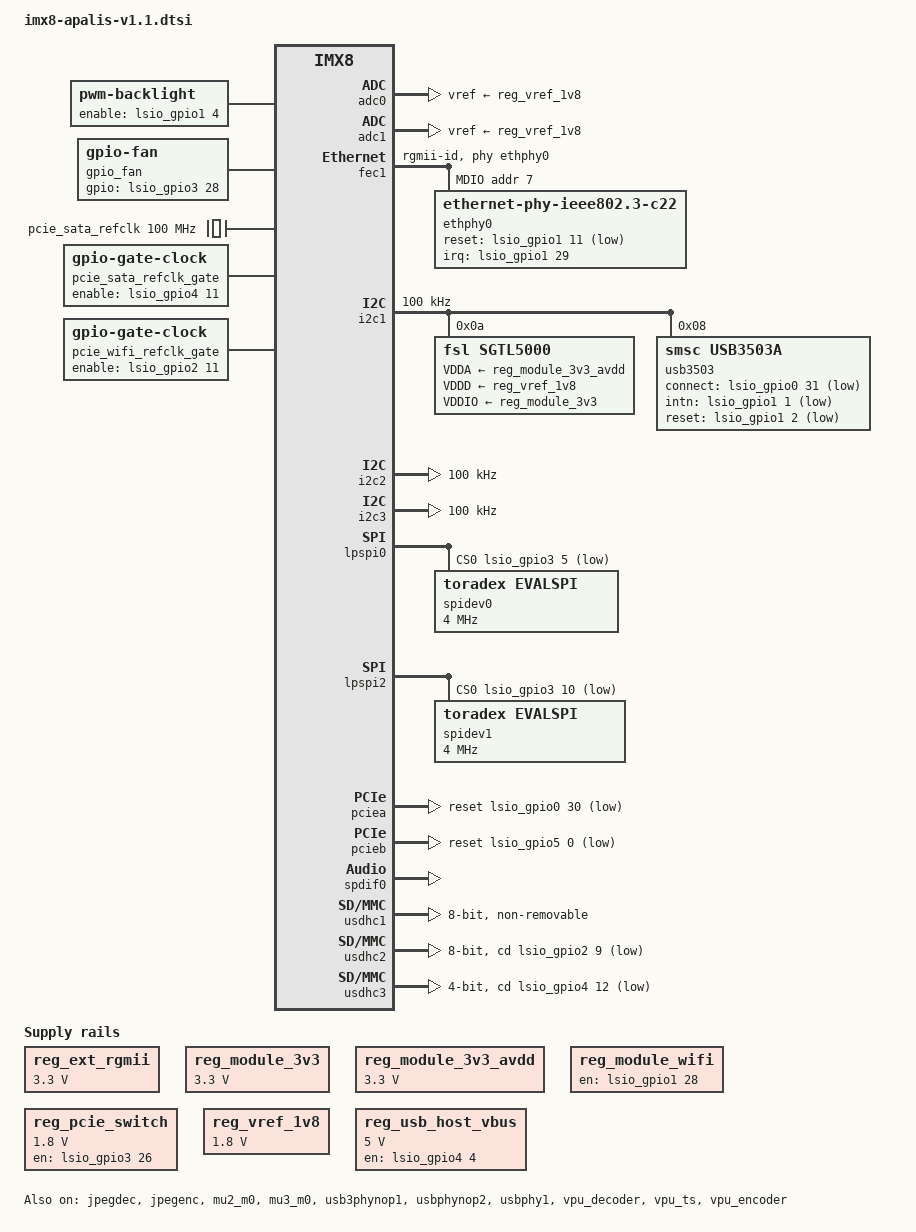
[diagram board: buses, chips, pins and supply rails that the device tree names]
// SPDX-License-Identifier: GPL-2.0+ OR X11
/*
 * Copyright 2017-2020 Toradex
 */

#include <dt-bindings/pwm/pwm.h>

/ {
	chosen {
		stdout-path = &lpuart1;
	};

	/* Apalis BKL1 */
	backlight: backlight {
		compatible = "pwm-backlight";
		pinctrl-names = "default";
		pinctrl-0 = <&pinctrl_gpio_bkl_on>;
		enable-gpios = <&lsio_gpio1 4 GPIO_ACTIVE_HIGH>; /* Apalis BKL1_ON */
	};

	gpio_fan: gpio-fan {
		compatible = "gpio-fan";
		pinctrl-names = "default";
		pinctrl-0 = <&pinctrl_gpio8>;
		gpios = <&lsio_gpio3 28 GPIO_ACTIVE_HIGH>;
		gpio-fan,speed-map = <	 0 0
				      3000 1>;
	};

	panel_lvds: panel-lvds {
		compatible = "panel-lvds";
		backlight = <&backlight>;

		status = "disabled";

		port {
			panel_lvds_in: endpoint {
				remote-endpoint = <&lvds1_out>;
			};
		};
	};

	pcie_sata_refclk: sata-clock-generator {
		compatible = "fixed-clock";
		#clock-cells = <0>;
		clock-frequency = <100000000>;
	};

	pcie_sata_refclk_gate: sata-ref-clock {
		compatible = "gpio-gate-clock";
		pinctrl-names = "default";
		pinctrl-0 = <&pinctrl_pcie_sata_refclk>;
		#clock-cells = <0>;
		clocks = <&pcie_sata_refclk>;
		enable-gpios = <&lsio_gpio4 11 GPIO_ACTIVE_HIGH>;
	};

	pcie_wifi_refclk_gate: wifi-ref-clock {
		compatible = "gpio-gate-clock";
		pinctrl-names = "default";
		pinctrl-0 = <&pinctrl_pcie_wifi_refclk>;
		#clock-cells = <0>;
		clocks = <&pcie_sata_refclk_gate>;
		enable-gpios = <&lsio_gpio2 11 GPIO_ACTIVE_HIGH>;
	};

	regulators {
		compatible = "simple-bus";
		#address-cells = <1>;
		#size-cells = <0>;

		/*
		 * Power management bus used to control LDO1OUT of the
		 * second PMIC PF8100. This is used for controlling voltage levels of
		 * typespecific RGMII signals and Apalis UART2_RTS UART2_CTS.
		 *
		 * IMX_SC_R_BOARD_R1 for 3.3V
		 * IMX_SC_R_BOARD_R2 for 1.8V
		 * IMX_SC_R_BOARD_R3 for 2.5V
		 * Note that for 2.5V operation the pad muxing needs to be changed,
		 * compare with PSW_OVR field of IMX8QM_COMP_CTL_GPIO_1V8_3V3_ENET_ENETA_PAD.
		 *
		 * those power domains are mutually exclusive.
		 */
		reg_ext_rgmii: regulator-ext-rgmii {
			compatible = "regulator-fixed";
			regulator-name = "VDD_EXT_RGMII (LDO1)";
			regulator-min-microvolt = <3300000>;
			regulator-max-microvolt = <3300000>;
			power-domains = <&pd IMX_SC_R_BOARD_R1>;

			regulator-state-mem {
				regulator-off-in-suspend;
			};
		};

		reg_module_3v3: regulator-module-3v3 {
			compatible = "regulator-fixed";
			regulator-name = "+V3.3";
			regulator-min-microvolt = <3300000>;
			regulator-max-microvolt = <3300000>;
		};

		reg_module_3v3_avdd: regulator-module-3v3-avdd {
			compatible = "regulator-fixed";
			regulator-name = "+V3.3_AUDIO";
			regulator-min-microvolt = <3300000>;
			regulator-max-microvolt = <3300000>;
		};

		reg_module_wifi: regulator-module-wifi {
			compatible = "regulator-fixed";
			enable-active-high;
			gpio = <&lsio_gpio1 28 GPIO_ACTIVE_HIGH>;
			pinctrl-names = "default";
			pinctrl-0 = <&pinctrl_wifi_pdn>;
			regulator-name = "wifi_pwrdn_fake_regulator";
			regulator-settling-time-us = <100>;

			regulator-state-mem {
				regulator-off-in-suspend;
			};
		};

		reg_pcie_switch: regulator-pcie-switch {
			compatible = "regulator-fixed";
			pinctrl-names = "default";
			pinctrl-0 = <&pinctrl_gpio7>;
			enable-active-high;
			gpio = <&lsio_gpio3 26 GPIO_ACTIVE_HIGH>;
			regulator-name = "pcie_switch";
			regulator-min-microvolt = <1800000>;
			regulator-max-microvolt = <1800000>;
			startup-delay-us = <100000>;
		};

		reg_vref_1v8: regulator-vref-1v8 {
			compatible = "regulator-fixed";
			regulator-name = "+V1.8";
			regulator-min-microvolt = <1800000>;
			regulator-max-microvolt = <1800000>;
		};
	};

	reg_usb_host_vbus: regulator-usb-host-vbus {
			compatible = "regulator-fixed";
			pinctrl-names = "default";
			pinctrl-0 = <&pinctrl_usbh_en>;
			regulator-min-microvolt = <5000000>;
			regulator-max-microvolt = <5000000>;
			enable-active-high;

			/* Apalis USBH_EN */
			gpio = <&lsio_gpio4 4 GPIO_ACTIVE_HIGH>;
			regulator-always-on;
	};

	reserved-memory {
		#address-cells = <2>;
		#size-cells = <2>;
		ranges;

		decoder_boot: decoder_boot@0x84000000 {
			no-map;
			reg = <0 0x84000000 0 0x2000000>;
		};
		encoder_boot: encoder_boot@0x86000000 {
			no-map;
			reg = <0 0x86000000 0 0x400000>;
		};
		/*
		 * reserved-memory layout
		 * 0x8800_0000 ~ 0x8FFF_FFFF is reserved for M4
		 * Shouldn't be used at A core and Linux side.
		 *
		 */
		m4_reserved: m4@0x88000000 {
			no-map;
			reg = <0 0x88000000 0 0x8000000>;
		};
		rpmsg_reserved: rpmsg@0x90000000 {
			no-map;
			reg = <0 0x90200000 0 0x200000>;
		};
		decoder_rpc: decoder_rpc@0x92000000 {
			no-map;
			reg = <0 0x92000000 0 0x200000>;
		};
		encoder_rpc: encoder_rpc@0x92200000 {
			no-map;
			reg = <0 0x92200000 0 0x200000>;
		};
		dsp_reserved: dsp@0x92400000 {
			no-map;
			reg = <0 0x92400000 0 0x2000000>;
		};
		encoder_reserved: encoder_reserved@0x94400000 {
			no-map;
			reg = <0 0x94400000 0 0x800000>;
		};
		ts_boot: ts_boot@0x95000000 {
			no-map;
			reg = <0 0x95000000 0 0x400000>;
		};

		vdevbuffer: vdevbuffer {
			compatible = "shared-dma-pool";
			reg = <0 0x90400000 0 0x100000>;
			no-map;
		};
	};

	sound {
		compatible = "simple-audio-card";
		simple-audio-card,bitclock-master = <&dailink_master>;
		simple-audio-card,format = "i2s";
		simple-audio-card,frame-master = <&dailink_master>;
		/* simple-audio-card,mclk-fs = <1>; */
		simple-audio-card,name = "apalis-imx8qm-sgtl5000";

		simple-audio-card,cpu {
			sound-dai = <&sai1>;
		};

		dailink_master: simple-audio-card,codec {
			clocks = <&mclkout0_lpcg 0>;
			sound-dai = <&sgtl5000>;
		};
	};

	sound_hdmi: sound-hdmi {
		compatible = "fsl,imx-audio-cdnhdmi";
		model = "imx-audio-hdmi-tx";
		audio-cpu = <&sai5>;
		protocol = <1>;
		hdmi-out;
		status = "disabled";
	};

	sound-spdif {
		compatible = "fsl,imx-audio-spdif";
		model = "imx-spdif";
		spdif-controller = <&spdif0>;
		spdif-in;
		spdif-out;
	};

	touchscreen: vf50-touchscreen {
		compatible = "toradex,vf50-touchscreen";
		io-channels = <&adc1 2>,<&adc1 1>,
			      <&adc1 0>,<&adc1 3>;
		xp-gpios = <&lsio_gpio2 4 GPIO_ACTIVE_LOW>;
		xm-gpios = <&lsio_gpio2 5 GPIO_ACTIVE_HIGH>;
		yp-gpios = <&lsio_gpio2 17 GPIO_ACTIVE_LOW>;
		ym-gpios = <&lsio_gpio2 21 GPIO_ACTIVE_HIGH>;
		interrupt-parent = <&lsio_gpio3>;
		interrupts = <22 IRQ_TYPE_LEVEL_LOW>;
		pinctrl-names = "idle","default";
		pinctrl-0 = <&pinctrl_touchctrl_idle>, <&pinctrl_touchctrl_gpios>;
		pinctrl-1 = <&pinctrl_adc1>, <&pinctrl_touchctrl_gpios>;
		vf50-ts-min-pressure = <200>;
		/* NOTE: you must remove the pinctrl-adc1 from the adc1
			node below to use the touchscreen */
		status = "disabled";
	};

};

&adc0 {
	pinctrl-names = "default";
	pinctrl-0 = <&pinctrl_adc0>;
	vref-supply = <&reg_vref_1v8>;
};

&adc1 {
	pinctrl-names = "default";
	pinctrl-0 = <&pinctrl_adc1>;
	vref-supply = <&reg_vref_1v8>;
};

&asrc0 {
	fsl,asrc-rate  = <48000>;
};

/* Apalis GLAN */
&fec1 {
	pinctrl-names = "default", "sleep";
	pinctrl-0 = <&pinctrl_fec1>;
	pinctrl-1 = <&pinctrl_fec1_sleep>;
	fsl,magic-packet;
	fsl,mii-exclusive;

	phy-handle = <&ethphy0>;
	phy-mode = "rgmii-id";

	mdio {
		#address-cells = <1>;
		#size-cells = <0>;

		ethphy0: ethernet-phy@7 {
			compatible = "ethernet-phy-ieee802.3-c22";
			interrupt-parent = <&lsio_gpio1>;
			interrupts = <29 IRQ_TYPE_LEVEL_LOW>;
			micrel,led-mode = <0>;
			reg = <7>;
			reset-assert-us = <2>;
			reset-deassert-us = <2>;
			reset-gpios = <&lsio_gpio1 11 GPIO_ACTIVE_LOW>;
			reset-names = "phy-reset";
		};
	};
};

/* Apalis CAN1 */
&flexcan1 {
	/* define the following property to disable CAN-FD mode */
	/* disable-fd-mode; */
	pinctrl-names = "default";
	pinctrl-0 = <&pinctrl_flexcan1>;
	/* xceiver-supply = <&reg_can_stby>; */
};

/* Apalis CAN2 */
&flexcan2 {
	/* define the following property to disable CAN-FD mode */
	/* disable-fd-mode; */
	pinctrl-names = "default";
	pinctrl-0 = <&pinctrl_flexcan2>;
	/* xceiver-supply = <&reg_can_stby>; */
};

/* Apalis CAN3 (optional) */
&flexcan3 {
	/* define the following property to disable CAN-FD mode */
	/* disable-fd-mode; */
	pinctrl-names = "default";
	pinctrl-0 = <&pinctrl_flexcan3>;
	/* xceiver-supply = <&reg_can_stby>; */
};


/* Apalis HDMI1 */
&hdmi {
	compatible = "cdn,imx8qm-hdmi";
	pinctrl-names = "default";
	pinctrl-0 = <&pinctrl_hdmi_ctrl>;
	firmware-name = "imx/hdmi/hdmitxfw.bin";
	hdmi-ctrl-gpios = <&lsio_gpio1 30 GPIO_ACTIVE_HIGH>;
	lane-mapping = <0x93>;
};

&hsio_refa_clk {
	status = "disabled";
};

&hsio_refb_clk {
	status = "disabled";
};

/* On-module I2C */
&i2c1 {
	pinctrl-names = "default";
	pinctrl-0 = <&pinctrl_lpi2c1>;
	#address-cells = <1>;
	#size-cells = <0>;
	clock-frequency = <100000>;
	status = "okay";

	sgtl5000: codec@a {
		compatible = "fsl,sgtl5000";
		pinctrl-names = "default";
		pinctrl-0 = <&pinctrl_sgtl5000>;
		#sound-dai-cells = <0>;
		assigned-clocks = <&clk IMX_SC_R_AUDIO_PLL_0 IMX_SC_PM_CLK_PLL>,
				<&clk IMX_SC_R_AUDIO_PLL_0 IMX_SC_PM_CLK_SLV_BUS>,
				<&clk IMX_SC_R_AUDIO_PLL_0 IMX_SC_PM_CLK_MST_BUS>,
				<&mclkout0_lpcg 0>;
		assigned-clock-rates = <786432000>, <49152000>, <12288000>, <12288000>;
		clocks = <&mclkout0_lpcg 0>;
		clock-names = "mclk";
		reg = <0x0a>;
		VDDA-supply = <&reg_module_3v3_avdd>;
		VDDD-supply = <&reg_vref_1v8>;
		VDDIO-supply = <&reg_module_3v3>;
	};

	/* USB3503A */
	usb3503@8 {
		compatible = "smsc,usb3503a";
		pinctrl-names = "default";
		pinctrl-0 = <&pinctrl_usb3503a>;
		connect-gpios = <&lsio_gpio0 31 GPIO_ACTIVE_LOW>;
		initial-mode = <1>;
		intn-gpios = <&lsio_gpio1 1 GPIO_ACTIVE_LOW>;
		refclk-frequency = <25000000>;
		reg = <0x08>;
		reset-gpios = <&lsio_gpio1 2 GPIO_ACTIVE_LOW>;
	};
};

/* Apalis I2C1 */
&i2c2 {
	pinctrl-names = "default";
	pinctrl-0 = <&pinctrl_lpi2c2>;
	#address-cells = <1>;
	#size-cells = <0>;
	clock-frequency = <100000>;
};

/* Apalis I2C3 (CAM) */
&i2c3 {
	pinctrl-names = "default";
	pinctrl-0 = <&pinctrl_lpi2c3>;
	#address-cells = <1>;
	#size-cells = <0>;
	clock-frequency = <100000>;
};

&iomuxc {
	pinctrl-names = "default";
	pinctrl-0 = <&pinctrl_cam1_gpios>, <&pinctrl_dap1_gpios>,
		    <&pinctrl_esai0_gpios>, <&pinctrl_fec2_gpios>,
		    <&pinctrl_gpio3>, <&pinctrl_gpio4>, <&pinctrl_gpio_keys>,
		    <&pinctrl_gpio_usbh_oc_n>, <&pinctrl_lpuart1ctrl>,
		    <&pinctrl_lvds0_i2c0_gpio>, <&pinctrl_lvds1_i2c0_gpios>,
		    <&pinctrl_mipi_dsi_0_1_en>, <&pinctrl_mipi_dsi1_gpios>,
		    <&pinctrl_mlb_gpios>, <&pinctrl_qspi1a_gpios>,
		    <&pinctrl_sata1_act>, <&pinctrl_sim0_gpios>,
		    <&pinctrl_usdhc1_gpios>;

	apalis-imx8qm {
		/* Apalis AN1_ADC */
		pinctrl_adc0: adc0grp {
			fsl,pins = <
				/* Apalis AN1_ADC0 */
				IMX8QM_ADC_IN0_DMA_ADC0_IN0			0xc0000060
				/* Apalis AN1_ADC1 */
				IMX8QM_ADC_IN1_DMA_ADC0_IN1			0xc0000060
				/* Apalis AN1_ADC2 */
				IMX8QM_ADC_IN2_DMA_ADC0_IN2			0xc0000060
				/* Apalis AN1_TSWIP_ADC3 */
				IMX8QM_ADC_IN3_DMA_ADC0_IN3			0xc0000060
			>;
		};

		/* Apalis AN1_TS */
		pinctrl_adc1: adc1grp {
			fsl,pins = <
				/* Apalis AN1_TSPX */
				IMX8QM_ADC_IN4_DMA_ADC1_IN0			0xc0000060
				/* Apalis AN1_TSMX */
				IMX8QM_ADC_IN5_DMA_ADC1_IN1			0xc0000060
				/* Apalis AN1_TSPY */
				IMX8QM_ADC_IN6_DMA_ADC1_IN2			0xc0000060
				/* Apalis AN1_TSMY */
				IMX8QM_ADC_IN7_DMA_ADC1_IN3			0xc0000060
			>;
		};

		/* Apalis BKL_ON */
		pinctrl_gpio_bkl_on: gpio-bkl-on {
			fsl,pins = <
				IMX8QM_LVDS0_GPIO00_LSIO_GPIO1_IO04		0x00000021
			>;
		};

		/* Apalis BKL1_PWM */
		pinctrl_pwm_bkl: pwmbklgrp {
			fsl,pins = <
				IMX8QM_LVDS1_GPIO00_LVDS1_PWM0_OUT		0x00000020
			>;
		};

		/* Apalis CAM1 */
		pinctrl_cam1_gpios: cam1gpiosgrp {
			fsl,pins = <
				/* Apalis CAM1_D7 */
				IMX8QM_MIPI_DSI1_I2C0_SCL_LSIO_GPIO1_IO20	0x00000021
				/* Apalis CAM1_D6 */
				IMX8QM_MIPI_DSI1_I2C0_SDA_LSIO_GPIO1_IO21	0x00000021
				/* Apalis CAM1_D5 */
				IMX8QM_ESAI0_TX0_LSIO_GPIO2_IO26		0x00000021
				/* Apalis CAM1_D4 */
				IMX8QM_ESAI0_TX1_LSIO_GPIO2_IO27		0x00000021
				/* Apalis CAM1_D3 */
				IMX8QM_ESAI0_TX2_RX3_LSIO_GPIO2_IO28		0x00000021
				/* Apalis CAM1_D2 */
				IMX8QM_ESAI0_TX3_RX2_LSIO_GPIO2_IO29		0x00000021
				/* Apalis CAM1_D1 */
				IMX8QM_ESAI0_TX4_RX1_LSIO_GPIO2_IO30		0x00000021
				/* Apalis CAM1_D0 */
				IMX8QM_ESAI0_TX5_RX0_LSIO_GPIO2_IO31		0x00000021
				/* Apalis CAM1_PCLK */
				IMX8QM_MCLK_IN0_LSIO_GPIO3_IO00			0x00000021
				/* Apalis CAM1_MCLK */
				IMX8QM_SPI3_SDO_LSIO_GPIO2_IO18			0x00000021
				/* Apalis CAM1_VSYNC */
				IMX8QM_ESAI0_SCKR_LSIO_GPIO2_IO24		0x00000021
				/* Apalis CAM1_HSYNC */
				IMX8QM_ESAI0_SCKT_LSIO_GPIO2_IO25		0x00000021
			>;
		};

		/* Apalis CAN1 */
		pinctrl_flexcan1: flexcan0grp {
			fsl,pins = <
				IMX8QM_FLEXCAN0_TX_DMA_FLEXCAN0_TX		0x21
				IMX8QM_FLEXCAN0_RX_DMA_FLEXCAN0_RX		0x21
			>;
		};

		/* Apalis CAN2 */
		pinctrl_flexcan2: flexcan1grp {
			fsl,pins = <
				IMX8QM_FLEXCAN1_TX_DMA_FLEXCAN1_TX		0x21
				IMX8QM_FLEXCAN1_RX_DMA_FLEXCAN1_RX		0x21
			>;
		};

		/* Apalis CAN3 (optional) */
		pinctrl_flexcan3: flexcan2grp {
			fsl,pins = <
				IMX8QM_FLEXCAN2_TX_DMA_FLEXCAN2_TX		0x21
				IMX8QM_FLEXCAN2_RX_DMA_FLEXCAN2_RX		0x21
			>;
		};

		/* Apalis DAP1 */
		pinctrl_dap1_gpios: dap1gpiosgrp {
			fsl,pins = <
				/* Apalis DAP1_MCLK */
				IMX8QM_SPI3_SDI_LSIO_GPIO2_IO19			0x00000021
				/* Apalis DAP1_D_OUT */
				IMX8QM_SAI1_RXC_LSIO_GPIO3_IO12			0x00000021
				/* Apalis DAP1_RESET */
				IMX8QM_ESAI1_SCKT_LSIO_GPIO2_IO07		0x00000021
				/* Apalis DAP1_BIT_CLK */
				IMX8QM_SPI0_CS1_LSIO_GPIO3_IO06			0x00000021
				/* Apalis DAP1_D_IN */
				IMX8QM_SAI1_RXFS_LSIO_GPIO3_IO14		0x00000021
				/* Apalis DAP1_SYNC */
				IMX8QM_SPI2_CS1_LSIO_GPIO3_IO11			0x00000021
				/* On-module Wi-Fi_I2S_EN# */
				IMX8QM_ESAI1_TX5_RX0_LSIO_GPIO2_IO13		0x00000021
			>;
		};

		/* Apalis GPIO1 */
		pinctrl_gpio1: gpio1grp {
			fsl,pins = <
				IMX8QM_M40_GPIO0_00_LSIO_GPIO0_IO08		0x06000021
			>;
		};

		/* Apalis GPIO2 */
		pinctrl_gpio2: gpio2grp {
			fsl,pins = <
				IMX8QM_M40_GPIO0_01_LSIO_GPIO0_IO09		0x06000021
			>;
		};

		/* Apalis GPIO3 */
		pinctrl_gpio3: gpio3grp {
			fsl,pins = <
				IMX8QM_M41_GPIO0_00_LSIO_GPIO0_IO12		0x06000021
			>;
		};

		/* Apalis GPIO4 */
		pinctrl_gpio4: gpio4grp {
			fsl,pins = <
				IMX8QM_M41_GPIO0_01_LSIO_GPIO0_IO13		0x06000021
			>;
		};

		/* Apalis GPIO5 */
		pinctrl_gpio5: gpio5grp {
			fsl,pins = <
				IMX8QM_FLEXCAN2_RX_LSIO_GPIO4_IO01		0x06000021
			>;
		};

		/* Apalis GPIO6 */
		pinctrl_gpio6: gpio6grp {
			fsl,pins = <
				IMX8QM_FLEXCAN2_TX_LSIO_GPIO4_IO02		0x00000021
			>;
		};

		/* Apalis GPIO7 */
		pinctrl_gpio7: gpio7grp {
			fsl,pins = <
				IMX8QM_MLB_SIG_LSIO_GPIO3_IO26			0x00000021
			>;
		};

		/* Apalis GPIO8 */
		pinctrl_gpio8: gpio8grp {
			fsl,pins = <
				IMX8QM_MLB_DATA_LSIO_GPIO3_IO28			0x00000021
			>;
		};

		/* Apalis I2C1 */
		pinctrl_lpi2c2: lpi2c2grp {
			fsl,pins = <
				IMX8QM_GPT1_CLK_DMA_I2C2_SCL			0x04000020
				IMX8QM_GPT1_CAPTURE_DMA_I2C2_SDA		0x04000020
			>;
		};

		/* Apalis I2C3 (CAM) */
		pinctrl_lpi2c3: lpi2c3grp {
			fsl,pins = <
				IMX8QM_SIM0_PD_DMA_I2C3_SCL			0x04000020
				IMX8QM_SIM0_POWER_EN_DMA_I2C3_SDA		0x04000020
			>;
		};

		/* Apalis LCD1_G1+2 */
		pinctrl_esai0_gpios: esai0gpiosgrp {
			fsl,pins = <
				/* Apalis LCD1_G1 */
				IMX8QM_ESAI0_FSR_LSIO_GPIO2_IO22		0x00000021
				/* Apalis LCD1_G2 */
				IMX8QM_ESAI0_FST_LSIO_GPIO2_IO23		0x00000021
			>;
		};

		/* Apalis LCD1_G6+7 */
		pinctrl_lvds1_i2c0_gpios: lvds1i2c0gpiosgrp {
			fsl,pins = <
				/* Apalis LCD1_G6 */
				IMX8QM_LVDS1_I2C0_SCL_LSIO_GPIO1_IO12		0x00000021
				/* Apalis LCD1_G7 */
				IMX8QM_LVDS1_I2C0_SDA_LSIO_GPIO1_IO13		0x00000021
			>;
		};

		/* Apalis LCD1_ */
		pinctrl_fec2_gpios: fec2gpiosgrp {
			fsl,pins = <
				IMX8QM_COMP_CTL_GPIO_1V8_3V3_ENET_ENETA_PAD	0x000014a0
				/* Apalis LCD1_R1 */
				IMX8QM_ENET1_MDC_LSIO_GPIO4_IO18		0x00000021
				/* Apalis LCD1_R0 */
				IMX8QM_ENET1_MDIO_LSIO_GPIO4_IO17		0x00000021
				/* Apalis LCD1_G0 */
				IMX8QM_ENET1_REFCLK_125M_25M_LSIO_GPIO4_IO16	0x00000021
				/* Apalis LCD1_R7 */
				IMX8QM_ENET1_RGMII_RX_CTL_LSIO_GPIO6_IO17	0x00000021
				/* Apalis LCD1_DE */
				IMX8QM_ENET1_RGMII_RXD0_LSIO_GPIO6_IO18		0x00000021
				/* Apalis LCD1_HSYNC */
				IMX8QM_ENET1_RGMII_RXD1_LSIO_GPIO6_IO19		0x00000021
				/* Apalis LCD1_VSYNC */
				IMX8QM_ENET1_RGMII_RXD2_LSIO_GPIO6_IO20		0x00000021
				/* Apalis LCD1_PCLK */
				IMX8QM_ENET1_RGMII_RXD3_LSIO_GPIO6_IO21		0x00000021
				/* Apalis LCD1_R6 */
				IMX8QM_ENET1_RGMII_TX_CTL_LSIO_GPIO6_IO11	0x00000021
				/* Apalis LCD1_R5 */
				IMX8QM_ENET1_RGMII_TXC_LSIO_GPIO6_IO10		0x00000021
				/* Apalis LCD1_R4 */
				IMX8QM_ENET1_RGMII_TXD0_LSIO_GPIO6_IO12		0x00000021
				/* Apalis LCD1_R3 */
				IMX8QM_ENET1_RGMII_TXD1_LSIO_GPIO6_IO13		0x00000021
				/* Apalis LCD1_R2 */
				IMX8QM_ENET1_RGMII_TXD2_LSIO_GPIO6_IO14		0x00000021
			>;
		};

		/* Apalis LCD1_ */
		pinctrl_qspi1a_gpios: qspi1agpiosgrp {
			fsl,pins = <
				/* Apalis LCD1_B0 */
				IMX8QM_QSPI1A_DATA0_LSIO_GPIO4_IO26		0x00000021
				/* Apalis LCD1_B1 */
				IMX8QM_QSPI1A_DATA1_LSIO_GPIO4_IO25		0x00000021
				/* Apalis LCD1_B2 */
				IMX8QM_QSPI1A_DATA2_LSIO_GPIO4_IO24		0x00000021
				/* Apalis LCD1_B3 */
				IMX8QM_QSPI1A_DATA3_LSIO_GPIO4_IO23		0x00000021
				/* Apalis LCD1_B5 */
				IMX8QM_QSPI1A_DQS_LSIO_GPIO4_IO22		0x00000021
				/* Apalis LCD1_B7 */
				IMX8QM_QSPI1A_SCLK_LSIO_GPIO4_IO21		0x00000021
				/* Apalis LCD1_B4 */
				IMX8QM_QSPI1A_SS0_B_LSIO_GPIO4_IO19		0x00000021
				/* Apalis LCD1_B6 */
				IMX8QM_QSPI1A_SS1_B_LSIO_GPIO4_IO20		0x00000021
			>;
		};

		/* Apalis LCD1_ */
		pinctrl_sim0_gpios: sim0gpiosgrp {
			fsl,pins = <
				/* Apalis LCD1_G5 */
				IMX8QM_SIM0_CLK_LSIO_GPIO0_IO00			0x00000021
				/* Apalis LCD1_G3 */
				IMX8QM_SIM0_GPIO0_00_LSIO_GPIO0_IO05		0x00000021
				/* Apalis TS_5 */
				IMX8QM_SIM0_IO_LSIO_GPIO0_IO02			0x00000021
				/* Apalis LCD1_G4 */
				IMX8QM_SIM0_RST_LSIO_GPIO0_IO01			0x00000021
			>;
		};

		/* Apalis MMC1_CD# */
		pinctrl_mmc1_cd: mmc1cdgrp {
			fsl,pins = <
				IMX8QM_ESAI1_TX1_LSIO_GPIO2_IO09		0x00000021
			>;
		};

		/* Apalis MMC1 */
		pinctrl_usdhc2: usdhc2grp {
			fsl,pins = <
				IMX8QM_USDHC1_CLK_CONN_USDHC1_CLK		0x06000041
				IMX8QM_USDHC1_CMD_CONN_USDHC1_CMD		0x00000021
				IMX8QM_USDHC1_DATA0_CONN_USDHC1_DATA0		0x00000021
				IMX8QM_USDHC1_DATA1_CONN_USDHC1_DATA1		0x00000021
				IMX8QM_USDHC1_DATA2_CONN_USDHC1_DATA2		0x00000021
				IMX8QM_USDHC1_DATA3_CONN_USDHC1_DATA3		0x00000021
				IMX8QM_USDHC1_DATA4_CONN_USDHC1_DATA4		0x00000021
				IMX8QM_USDHC1_DATA5_CONN_USDHC1_DATA5		0x00000021
				IMX8QM_USDHC1_DATA6_CONN_USDHC1_DATA6		0x00000021
				IMX8QM_USDHC1_DATA7_CONN_USDHC1_DATA7		0x00000021
				/* On-module PMIC use */
				IMX8QM_USDHC1_VSELECT_CONN_USDHC1_VSELECT	0x00000021
			>;
		};

		pinctrl_usdhc2_100mhz: usdhc2grp100mhz {
			fsl,pins = <
				IMX8QM_USDHC1_CLK_CONN_USDHC1_CLK		0x06000040
				IMX8QM_USDHC1_CMD_CONN_USDHC1_CMD		0x00000020
				IMX8QM_USDHC1_DATA0_CONN_USDHC1_DATA0		0x00000020
				IMX8QM_USDHC1_DATA1_CONN_USDHC1_DATA1		0x00000020
				IMX8QM_USDHC1_DATA2_CONN_USDHC1_DATA2		0x00000020
				IMX8QM_USDHC1_DATA3_CONN_USDHC1_DATA3		0x00000020
				IMX8QM_USDHC1_DATA4_CONN_USDHC1_DATA4		0x00000020
				IMX8QM_USDHC1_DATA5_CONN_USDHC1_DATA5		0x00000020
				IMX8QM_USDHC1_DATA6_CONN_USDHC1_DATA6		0x00000020
				IMX8QM_USDHC1_DATA7_CONN_USDHC1_DATA7		0x00000020
				/* On-module PMIC use */
				IMX8QM_USDHC1_VSELECT_CONN_USDHC1_VSELECT	0x00000020
			>;
		};

		pinctrl_usdhc2_200mhz: usdhc2grp200mhz {
			fsl,pins = <
				IMX8QM_USDHC1_CLK_CONN_USDHC1_CLK		0x06000040
				IMX8QM_USDHC1_CMD_CONN_USDHC1_CMD		0x00000020
				IMX8QM_USDHC1_DATA0_CONN_USDHC1_DATA0		0x00000020
				IMX8QM_USDHC1_DATA1_CONN_USDHC1_DATA1		0x00000020
				IMX8QM_USDHC1_DATA2_CONN_USDHC1_DATA2		0x00000020
				IMX8QM_USDHC1_DATA3_CONN_USDHC1_DATA3		0x00000020
				IMX8QM_USDHC1_DATA4_CONN_USDHC1_DATA4		0x00000020
				IMX8QM_USDHC1_DATA5_CONN_USDHC1_DATA5		0x00000020
				IMX8QM_USDHC1_DATA6_CONN_USDHC1_DATA6		0x00000020
				IMX8QM_USDHC1_DATA7_CONN_USDHC1_DATA7		0x00000020
				/* On-module PMIC use */
				IMX8QM_USDHC1_VSELECT_CONN_USDHC1_VSELECT	0x00000020
			>;
		};

		/* Apalis PWM1 */
		pinctrl_pwm2: pwm2grp {
			fsl,pins = <
				IMX8QM_GPT1_COMPARE_LSIO_PWM2_OUT		0x00000020
			>;
		};

		/* Apalis PWM2 */
		pinctrl_pwm3: pwm3grp {
			fsl,pins = <
				IMX8QM_GPT0_COMPARE_LSIO_PWM3_OUT		0x00000020
			>;
		};

		/* Apalis PWM3 */
		pinctrl_pwm0: pwm0grp {
			fsl,pins = <
				IMX8QM_UART0_RTS_B_LSIO_PWM0_OUT		0x00000020
			>;
		};

		/* Apalis PWM4 */
		pinctrl_pwm1: pwm1grp {
			fsl,pins = <
				IMX8QM_UART0_CTS_B_LSIO_PWM1_OUT		0x00000020
			>;
		};

		/* Apalis SATA1_ACT# */
		pinctrl_sata1_act: sata1actgrp {
			fsl,pins = <
				IMX8QM_ESAI1_TX0_LSIO_GPIO2_IO08		0x00000021
			>;
		};

		/* Apalis SD1_CD# */
		pinctrl_sd1_cd: sd1cdgrp {
			fsl,pins = <
				IMX8QM_USDHC2_CD_B_LSIO_GPIO4_IO12		0x00000021
			>;
		};

		/* Apalis SD1 */
		pinctrl_usdhc3: usdhc3grp {
			fsl,pins = <
				IMX8QM_USDHC2_CLK_CONN_USDHC2_CLK		0x06000041
				IMX8QM_USDHC2_CMD_CONN_USDHC2_CMD		0x00000021
				IMX8QM_USDHC2_DATA0_CONN_USDHC2_DATA0		0x00000021
				IMX8QM_USDHC2_DATA1_CONN_USDHC2_DATA1		0x00000021
				IMX8QM_USDHC2_DATA2_CONN_USDHC2_DATA2		0x00000021
				IMX8QM_USDHC2_DATA3_CONN_USDHC2_DATA3		0x00000021
				/* On-module PMIC use */
				IMX8QM_USDHC2_VSELECT_CONN_USDHC2_VSELECT	0x00000021
			>;
		};

		pinctrl_touchctrl_idle: touchctrl_idle {
			fsl,pins = <
				IMX8QM_ADC_IN4_LSIO_GPIO3_IO22			0x00000021
				IMX8QM_ADC_IN5_LSIO_GPIO3_IO23			0x00000021
				IMX8QM_ADC_IN6_LSIO_GPIO3_IO24			0x00000021
				IMX8QM_ADC_IN7_LSIO_GPIO3_IO25			0x00000021
			>;
		};

		pinctrl_touchctrl_gpios: touchctrl_gpios {
			fsl,pins = <
				IMX8QM_ESAI1_FSR_LSIO_GPIO2_IO04		0x00000021
				IMX8QM_ESAI1_FST_LSIO_GPIO2_IO05		0x00000041
				IMX8QM_SPI3_SCK_LSIO_GPIO2_IO17			0x00000021
				IMX8QM_SPI3_CS1_LSIO_GPIO2_IO21			0x00000041
				>;
		};

		pinctrl_usdhc3_100mhz: usdhc3grp100mhz {
			fsl,pins = <
				IMX8QM_USDHC2_CLK_CONN_USDHC2_CLK		0x06000041
				IMX8QM_USDHC2_CMD_CONN_USDHC2_CMD		0x00000021
				IMX8QM_USDHC2_DATA0_CONN_USDHC2_DATA0		0x00000021
				IMX8QM_USDHC2_DATA1_CONN_USDHC2_DATA1		0x00000021
				IMX8QM_USDHC2_DATA2_CONN_USDHC2_DATA2		0x00000021
				IMX8QM_USDHC2_DATA3_CONN_USDHC2_DATA3		0x00000021
				/* On-module PMIC use */
				IMX8QM_USDHC2_VSELECT_CONN_USDHC2_VSELECT	0x00000021
			>;
		};

		pinctrl_usdhc3_200mhz: usdhc3grp200mhz {
			fsl,pins = <
				IMX8QM_USDHC2_CLK_CONN_USDHC2_CLK		0x06000041
				IMX8QM_USDHC2_CMD_CONN_USDHC2_CMD		0x00000021
				IMX8QM_USDHC2_DATA0_CONN_USDHC2_DATA0		0x00000021
				IMX8QM_USDHC2_DATA1_CONN_USDHC2_DATA1		0x00000021
				IMX8QM_USDHC2_DATA2_CONN_USDHC2_DATA2		0x00000021
				IMX8QM_USDHC2_DATA3_CONN_USDHC2_DATA3		0x00000021
				/* On-module PMIC use */
				IMX8QM_USDHC2_VSELECT_CONN_USDHC2_VSELECT	0x00000021
			>;
		};

		/* Apalis SPDIF */
		pinctrl_spdif0: spdif0grp {
			fsl,pins = <
				IMX8QM_SPDIF0_TX_AUD_SPDIF0_TX			0xc6000040
				IMX8QM_SPDIF0_RX_AUD_SPDIF0_RX			0xc6000040
			>;
		};

		/* Apalis SPI1 */
		pinctrl_lpspi0: lpspi0grp {
			fsl,pins = <
				IMX8QM_SPI0_SCK_DMA_SPI0_SCK			0x0600004c
				IMX8QM_SPI0_SDO_DMA_SPI0_SDO			0x0600004c
				IMX8QM_SPI0_SDI_DMA_SPI0_SDI			0x0600004c
				IMX8QM_SPI0_CS0_LSIO_GPIO3_IO05			0x0600004c
			>;
		};

		/* Apalis SPI2 */
		pinctrl_lpspi2: lpspi2grp {
			fsl,pins = <
				IMX8QM_SPI2_SCK_DMA_SPI2_SCK			0x0600004c
				IMX8QM_SPI2_SDO_DMA_SPI2_SDO			0x0600004c
				IMX8QM_SPI2_SDI_DMA_SPI2_SDI			0x0600004c
				IMX8QM_SPI2_CS0_LSIO_GPIO3_IO10			0x0600004c
			>;
		};

		/* Apalis TS_1 */
		pinctrl_mlb_gpios: mlbgpiosgrp {
			fsl,pins = <
				IMX8QM_MLB_CLK_LSIO_GPIO3_IO27			0x00000021
			>;
		};

		/* Apalis TS_2 */
		pinctrl_lvds0_i2c0_gpio: lvds0i2c0gpio {
			fsl,pins = <
				IMX8QM_LVDS0_I2C0_SCL_LSIO_GPIO1_IO06		0x00000021
			>;
		};

		/* Apalis TS_3 */
		pinctrl_mipi_dsi_0_1_en: mipi_dsi_0_1_en {
			fsl,pins = <
				IMX8QM_LVDS0_I2C0_SDA_LSIO_GPIO1_IO07		0x00000021
			>;
		};

		/* Apalis TS_4 */
		pinctrl_mipi_dsi1_gpios: mipidsi1gpiosgrp {
			fsl,pins = <
				IMX8QM_MIPI_DSI1_GPIO0_00_LSIO_GPIO1_IO22	0x00000021
			>;
		};

		/* Apalis TS_6 */
		pinctrl_usdhc1_gpios: usdhc1gpiosgrp {
			fsl,pins = <
				IMX8QM_USDHC1_STROBE_LSIO_GPIO5_IO23		0x00000021
			>;
		};

		/* Apalis UART1 */
		pinctrl_lpuart1: lpuart1grp {
			fsl,pins = <
				IMX8QM_UART1_RX_DMA_UART1_RX			0x06000020
				IMX8QM_UART1_TX_DMA_UART1_TX			0x06000020
				IMX8QM_UART1_CTS_B_DMA_UART1_CTS_B		0x06000020
				IMX8QM_UART1_RTS_B_DMA_UART1_RTS_B		0x06000020
			>;
		};

		/* Apalis UART1_ */
		pinctrl_lpuart1ctrl: lpuart1ctrlgrp {
			fsl,pins = <
				/* Apalis UART1_DTR */
				IMX8QM_M40_I2C0_SCL_LSIO_GPIO0_IO06		0x00000021
				/* Apalis UART1_DSR */
				IMX8QM_M40_I2C0_SDA_LSIO_GPIO0_IO07		0x00000021
				/* Apalis UART1_DCD */
				IMX8QM_M41_I2C0_SCL_LSIO_GPIO0_IO10		0x00000021
				/* Apalis UART1_RI */
				IMX8QM_M41_I2C0_SDA_LSIO_GPIO0_IO11		0x00000021
			>;
		};

		/* Apalis UART2 */
		pinctrl_lpuart3: lpuart3grp {
			fsl,pins = <
				IMX8QM_LVDS1_I2C1_SCL_DMA_UART3_TX		0x06000020
				IMX8QM_LVDS1_I2C1_SDA_DMA_UART3_RX		0x06000020
				IMX8QM_ENET1_RGMII_TXD3_DMA_UART3_RTS_B		0x06000020
				IMX8QM_ENET1_RGMII_RXC_DMA_UART3_CTS_B		0x06000020
			>;
		};

		/* Apalis UART3 */
		pinctrl_lpuart0: lpuart0grp {
			fsl,pins = <
				IMX8QM_UART0_RX_DMA_UART0_RX			0x06000020
				IMX8QM_UART0_TX_DMA_UART0_TX			0x06000020
			>;
		};

		/* Apalis UART4 */
		pinctrl_lpuart2: lpuart2grp {
			fsl,pins = <
				IMX8QM_LVDS0_I2C1_SCL_DMA_UART2_TX		0x06000020
				IMX8QM_LVDS0_I2C1_SDA_DMA_UART2_RX		0x06000020
			>;
		};

		/* Apalis USBH_EN */
		pinctrl_usbh_en: usbhen {
			fsl,pins = <
				IMX8QM_USB_SS3_TC1_LSIO_GPIO4_IO04		0x00000021
			>;
		};

		/* Apalis USBH_OC# */
		pinctrl_gpio_usbh_oc_n: gpiousbhocn {
			fsl,pins = <
				IMX8QM_USB_SS3_TC3_LSIO_GPIO4_IO06		0x04000021
			>;
		};

		/* Apalis USBO1 */
		pinctrl_usbotg1: usbotg1 {
			fsl,pins = <
				/* Apalis USBO1_EN */
				IMX8QM_USB_SS3_TC0_CONN_USB_OTG1_PWR		0x00000021
				/* Apalis USBO1_OC# */
				IMX8QM_USB_SS3_TC2_CONN_USB_OTG1_OC		0x04000021
			>;
		};

		/* Apalis WAKE1_MICO */
		pinctrl_gpio_keys: gpio-keys {
			fsl,pins = <
				IMX8QM_SPI3_CS0_LSIO_GPIO2_IO20			0x06700021
			>;
		};

		/* On-module eMMC */
		pinctrl_usdhc1: usdhc1grp {
			fsl,pins = <
				IMX8QM_EMMC0_CLK_CONN_EMMC0_CLK			0x06000041
				IMX8QM_EMMC0_CMD_CONN_EMMC0_CMD			0x00000021
				IMX8QM_EMMC0_DATA0_CONN_EMMC0_DATA0		0x00000021
				IMX8QM_EMMC0_DATA1_CONN_EMMC0_DATA1		0x00000021
				IMX8QM_EMMC0_DATA2_CONN_EMMC0_DATA2		0x00000021
				IMX8QM_EMMC0_DATA3_CONN_EMMC0_DATA3		0x00000021
				IMX8QM_EMMC0_DATA4_CONN_EMMC0_DATA4		0x00000021
				IMX8QM_EMMC0_DATA5_CONN_EMMC0_DATA5		0x00000021
				IMX8QM_EMMC0_DATA6_CONN_EMMC0_DATA6		0x00000021
				IMX8QM_EMMC0_DATA7_CONN_EMMC0_DATA7		0x00000021
				IMX8QM_EMMC0_STROBE_CONN_EMMC0_STROBE		0x06000041
				IMX8QM_EMMC0_RESET_B_CONN_EMMC0_RESET_B		0x00000021
			>;
		};

		pinctrl_usdhc1_100mhz: usdhc1grp100mhz {
			fsl,pins = <
				IMX8QM_EMMC0_CLK_CONN_EMMC0_CLK			0x06000040
				IMX8QM_EMMC0_CMD_CONN_EMMC0_CMD			0x00000020
				IMX8QM_EMMC0_DATA0_CONN_EMMC0_DATA0		0x00000020
				IMX8QM_EMMC0_DATA1_CONN_EMMC0_DATA1		0x00000020
				IMX8QM_EMMC0_DATA2_CONN_EMMC0_DATA2		0x00000020
				IMX8QM_EMMC0_DATA3_CONN_EMMC0_DATA3		0x00000020
				IMX8QM_EMMC0_DATA4_CONN_EMMC0_DATA4		0x00000020
				IMX8QM_EMMC0_DATA5_CONN_EMMC0_DATA5		0x00000020
				IMX8QM_EMMC0_DATA6_CONN_EMMC0_DATA6		0x00000020
				IMX8QM_EMMC0_DATA7_CONN_EMMC0_DATA7		0x00000020
				IMX8QM_EMMC0_STROBE_CONN_EMMC0_STROBE		0x06000040
				IMX8QM_EMMC0_RESET_B_CONN_EMMC0_RESET_B		0x00000020
			>;
		};

		pinctrl_usdhc1_200mhz: usdhc1grp200mhz {
			fsl,pins = <
				IMX8QM_EMMC0_CLK_CONN_EMMC0_CLK			0x06000040
				IMX8QM_EMMC0_CMD_CONN_EMMC0_CMD			0x00000020
				IMX8QM_EMMC0_DATA0_CONN_EMMC0_DATA0		0x00000020
				IMX8QM_EMMC0_DATA1_CONN_EMMC0_DATA1		0x00000020
				IMX8QM_EMMC0_DATA2_CONN_EMMC0_DATA2		0x00000020
				IMX8QM_EMMC0_DATA3_CONN_EMMC0_DATA3		0x00000020
				IMX8QM_EMMC0_DATA4_CONN_EMMC0_DATA4		0x00000020
				IMX8QM_EMMC0_DATA5_CONN_EMMC0_DATA5		0x00000020
				IMX8QM_EMMC0_DATA6_CONN_EMMC0_DATA6		0x00000020
				IMX8QM_EMMC0_DATA7_CONN_EMMC0_DATA7		0x00000020
				IMX8QM_EMMC0_STROBE_CONN_EMMC0_STROBE		0x06000040
				IMX8QM_EMMC0_RESET_B_CONN_EMMC0_RESET_B		0x00000020
			>;
		};

		/* On-module Gigabit Ethernet PHY Micrel KSZ9031 for Apalis GLAN */
		pinctrl_fec1: fec1grp {
			fsl,pins = <
				IMX8QM_COMP_CTL_GPIO_1V8_3V3_ENET_ENETB_PAD	0x000014a0 /* Use pads in 3.3V mode */
				IMX8QM_ENET0_MDC_CONN_ENET0_MDC			0x06000020
				IMX8QM_ENET0_MDIO_CONN_ENET0_MDIO		0x06000020
				IMX8QM_ENET0_RGMII_TX_CTL_CONN_ENET0_RGMII_TX_CTL	0x06000020
				IMX8QM_ENET0_RGMII_TXC_CONN_ENET0_RGMII_TXC	0x06000020
				IMX8QM_ENET0_RGMII_TXD0_CONN_ENET0_RGMII_TXD0	0x06000020
				IMX8QM_ENET0_RGMII_TXD1_CONN_ENET0_RGMII_TXD1	0x06000020
				IMX8QM_ENET0_RGMII_TXD2_CONN_ENET0_RGMII_TXD2	0x06000020
				IMX8QM_ENET0_RGMII_TXD3_CONN_ENET0_RGMII_TXD3	0x06000020
				IMX8QM_ENET0_RGMII_RXC_CONN_ENET0_RGMII_RXC	0x06000020
				IMX8QM_ENET0_RGMII_RX_CTL_CONN_ENET0_RGMII_RX_CTL	0x06000020
				IMX8QM_ENET0_RGMII_RXD0_CONN_ENET0_RGMII_RXD0	0x06000020
				IMX8QM_ENET0_RGMII_RXD1_CONN_ENET0_RGMII_RXD1	0x06000020
				IMX8QM_ENET0_RGMII_RXD2_CONN_ENET0_RGMII_RXD2	0x06000020
				IMX8QM_ENET0_RGMII_RXD3_CONN_ENET0_RGMII_RXD3	0x06000020
				IMX8QM_ENET0_REFCLK_125M_25M_CONN_ENET0_REFCLK_125M_25M	0x06000020
				/* On-module ETH_RESET# */
				IMX8QM_LVDS1_GPIO01_LSIO_GPIO1_IO11		0x06000020
				/* On-module ETH_INT# */
				IMX8QM_MIPI_CSI1_MCLK_OUT_LSIO_GPIO1_IO29	0x04000060
			>;
		};

		pinctrl_fec1_sleep: fec1-sleepgrp {
			fsl,pins = <
				IMX8QM_COMP_CTL_GPIO_1V8_3V3_ENET_ENETB_PAD	0x000014a0
				IMX8QM_ENET0_MDC_LSIO_GPIO4_IO14		0x04000040
				IMX8QM_ENET0_MDIO_LSIO_GPIO4_IO13		0x04000040
				IMX8QM_ENET0_RGMII_TX_CTL_LSIO_GPIO5_IO31	0x04000040
				IMX8QM_ENET0_RGMII_TXC_LSIO_GPIO5_IO30		0x04000040
				IMX8QM_ENET0_RGMII_TXD0_LSIO_GPIO6_IO00		0x04000040
				IMX8QM_ENET0_RGMII_TXD1_LSIO_GPIO6_IO01		0x04000040
				IMX8QM_ENET0_RGMII_TXD2_LSIO_GPIO6_IO02		0x04000040
				IMX8QM_ENET0_RGMII_TXD3_LSIO_GPIO6_IO03		0x04000040
				IMX8QM_ENET0_RGMII_RXC_LSIO_GPIO6_IO04		0x04000040
				IMX8QM_ENET0_RGMII_RX_CTL_LSIO_GPIO6_IO05	0x04000040
				IMX8QM_ENET0_RGMII_RXD0_LSIO_GPIO6_IO06		0x04000040
				IMX8QM_ENET0_RGMII_RXD1_LSIO_GPIO6_IO07		0x04000040
				IMX8QM_ENET0_RGMII_RXD2_LSIO_GPIO6_IO08		0x04000040
				IMX8QM_ENET0_RGMII_RXD3_LSIO_GPIO6_IO09		0x04000040
				IMX8QM_ENET0_REFCLK_125M_25M_LSIO_GPIO4_IO15	0x04000040
				IMX8QM_LVDS1_GPIO01_LSIO_GPIO1_IO11		0x06000020
				IMX8QM_MIPI_CSI1_MCLK_OUT_LSIO_GPIO1_IO29	0x04000040
			>;
		};

		/* On-module HDMI_CTRL */
		pinctrl_hdmi_ctrl: hdmictrlgrp {
			fsl,pins = <
				IMX8QM_MIPI_CSI1_GPIO0_00_LSIO_GPIO1_IO30	0x00000061
			>;
		};

		/* On-module I2C */
		pinctrl_lpi2c1: lpi2c1grp {
			fsl,pins = <
				IMX8QM_GPT0_CLK_DMA_I2C1_SCL			0x04000020
				IMX8QM_GPT0_CAPTURE_DMA_I2C1_SDA		0x04000020
			>;
		};

		/* On-module I2S SGTL5000 for Apalis Analogue Audio */
		pinctrl_sai1: sai1grp {
			fsl,pins = <
				IMX8QM_SAI1_TXD_AUD_SAI1_TXD			0xc600006c
				IMX8QM_SAI1_RXD_AUD_SAI1_RXD			0xc600004c
				IMX8QM_SAI1_TXC_AUD_SAI1_TXC			0xc600004c
				IMX8QM_SAI1_TXFS_AUD_SAI1_TXFS			0xc600004c
			>;
		};

		/* On-module I2S SGTL5000 SYS_MCLK */
		pinctrl_sgtl5000: sgtl5000grp {
			fsl,pins = <
				IMX8QM_MCLK_OUT0_AUD_ACM_MCLK_OUT0		0xc600004c
			>;
		};

		/* On-module PCIe_CLK_EN1 */
		pinctrl_pcie_sata_refclk: pciesatarefclkgrp {
			fsl,pins = <
				IMX8QM_USDHC2_WP_LSIO_GPIO4_IO11		0x00000021
			>;
		};

		/* On-module PCIe_CLK_EN2 */
		pinctrl_pcie_wifi_refclk: pciewifirefclkgrp {
			fsl,pins = <
				IMX8QM_ESAI1_TX3_RX2_LSIO_GPIO2_IO11		0x00000021
			>;
		};

		/* On-module PCIe_Wi-Fi */
		pinctrl_pcieb: pciebgrp {
			fsl,pins = <
				IMX8QM_PCIE_CTRL1_CLKREQ_B_LSIO_GPIO4_IO30	0x00000021
				IMX8QM_PCIE_CTRL1_WAKE_B_LSIO_GPIO4_IO31	0x00000021
				IMX8QM_PCIE_CTRL1_PERST_B_LSIO_GPIO5_IO00	0x00000021
			>;
		};

		/* On-module RESET_MOCI#_DRV */
		pinctrl_reset_moci: resetmocigrp {
			fsl,pins = <
				IMX8QM_SCU_GPIO0_02_LSIO_GPIO0_IO30		0x00000021
			>;
		};

		/* On-module USB HSIC HUB */
		pinctrl_usb3503a: usb3503agrp {
			fsl,pins = <
				/* On-module HSIC_HUB_CONNECT */
				IMX8QM_SCU_GPIO0_03_LSIO_GPIO0_IO31		0x00000041
				/* On-module HSIC_INT_N */
				IMX8QM_SCU_GPIO0_05_LSIO_GPIO1_IO01		0x00000021
				/* On-module HSIC_RESET_N */
				IMX8QM_SCU_GPIO0_06_LSIO_GPIO1_IO02		0x00000041
			>;
		};

		/* On-module USB HSIC HUB (idle) */
		pinctrl_usb_hsic_idle: usbh1_1 {
			fsl,pins = <
				IMX8QM_USB_HSIC0_DATA_CONN_USB_HSIC0_DATA	0x000000cf
				IMX8QM_USB_HSIC0_STROBE_CONN_USB_HSIC0_STROBE	0x000000cf
			>;
		};

		/* On-module USB HSIC HUB (active) */
		pinctrl_usb_hsic_active: usbh1_2 {
			fsl,pins = <
				IMX8QM_USB_HSIC0_DATA_CONN_USB_HSIC0_DATA	0x000000cf
				IMX8QM_USB_HSIC0_STROBE_CONN_USB_HSIC0_STROBE	0x000000ff
			>;
		};

		/* On-module Wi-Fi */
		pinctrl_wifi: wifigrp {
			fsl,pins = <
				/* On-module Wi-Fi_SUSCLK_32k */
				IMX8QM_SCU_GPIO0_07_SCU_DSC_RTC_CLOCK_OUTPUT_32K	0x06000021
				/* On-module Wi-Fi_PCIE_W_DISABLE */
				IMX8QM_MIPI_CSI0_MCLK_OUT_LSIO_GPIO1_IO24	0x06000021
			>;
		};

		pinctrl_wifi_pdn: wifipdngrp {
			fsl,pins = <
				/* On-module Wi-Fi_POWER_DOWN */
				IMX8QM_MIPI_CSI0_GPIO0_01_LSIO_GPIO1_IO28	0x06000021
			>;
		};
	};
};

&jpegdec {
	status = "okay";
};

&jpegenc {
	status = "okay";
};

&ldb2_phy {
	status = "disabled";
};

&ldb2 {
	status = "disabled";

	lvds-channel@0 {
		fsl,data-mapping = "spwg";
		fsl,data-width = <24>;
		status = "okay";

		port@1 {
			reg = <1>;

			lvds1_out: endpoint {
				remote-endpoint = <&panel_lvds_in>;
			};
		};
	};
};

/* Apalis SPI1 */
&lpspi0 {
	pinctrl-names = "default";
	pinctrl-0 = <&pinctrl_lpspi0>;
	#address-cells = <1>;
	#size-cells = <0>;
	cs-gpios = <&lsio_gpio3 5 GPIO_ACTIVE_LOW>;

	spidev0: spi@0 {
		compatible = "toradex,evalspi";
		reg = <0>;
		spi-max-frequency = <4000000>;
	};
};

/* Apalis SPI2 */
&lpspi2 {
	pinctrl-names = "default";
	pinctrl-0 = <&pinctrl_lpspi2>;
	#address-cells = <1>;
	#size-cells = <0>;
	cs-gpios = <&lsio_gpio3 10 GPIO_ACTIVE_LOW>;

	spidev1: spi@0 {
		compatible = "toradex,evalspi";
		reg = <0>;
		spi-max-frequency = <4000000>;
	};
};

/* Apalis UART3 */
&lpuart0 {
	pinctrl-names = "default";
	pinctrl-0 = <&pinctrl_lpuart0>;
};

/* Apalis UART1 */
&lpuart1 {
	pinctrl-names = "default";
	pinctrl-0 = <&pinctrl_lpuart1>;
};

/* Apalis UART4 */
&lpuart2 {
	pinctrl-names = "default";
	pinctrl-0 = <&pinctrl_lpuart2>;
	dma-names = "","";
};

/* Apalis UART2 */
&lpuart3 {
	pinctrl-names = "default";
	pinctrl-0 = <&pinctrl_lpuart3>;
};

&lsio_gpio0 {
	gpio-line-names = "MXM3_279",
			  "MXM3_277",
			  "MXM3_135",
			  "MXM3_203",
			  "MXM3_201",
			  "MXM3_275",
			  "MXM3_110",
			  "MXM3_120",
			  "MXM3_1/GPIO1",
			  "MXM3_3/GPIO2",
			  "MXM3_124",
			  "MXM3_122",
			  "MXM3_5/GPIO3",
			  "MXM3_7/GPIO4",
			  "",
			  "",
			  "MXM3_4",
			  "MXM3_211",
			  "MXM3_209",
			  "MXM3_2",
			  "MXM3_136",
			  "MXM3_134",
			  "MXM3_6",
			  "MXM3_8",
			  "MXM3_112",
			  "MXM3_118",
			  "MXM3_114",
			  "MXM3_116";
};

&lsio_gpio1 {
	gpio-line-names = "",
			  "",
			  "",
			  "",
			  "MXM3_286",
			  "",
			  "MXM3_87",
			  "MXM3_99",
			  "MXM3_138",
			  "MXM3_140",
			  "MXM3_239",
			  "",
			  "MXM3_281",
			  "MXM3_283",
			  "MXM3_126",
			  "MXM3_132",
			  "",
			  "",
			  "",
			  "",
			  "MXM3_173",
			  "MXM3_175",
			  "MXM3_123";
};

&lsio_gpio2 {
	gpio-line-names = "",
			  "",
			  "",
			  "",
			  "",
			  "",
			  "",
			  "MXM3_198",
			  "MXM3_35",
			  "MXM3_164",
			  "",
			  "",
			  "",
			  "",
			  "MXM3_217",
			  "MXM3_215",
			  "",
			  "",
			  "MXM3_193",
			  "MXM3_194",
			  "MXM3_37",
			  "",
			  "MXM3_271",
			  "MXM3_273",
			  "MXM3_195",
			  "MXM3_197",
			  "MXM3_177",
			  "MXM3_179",
			  "MXM3_181",
			  "MXM3_183",
			  "MXM3_185",
			  "MXM3_187";

	/*
	 * Add GPIO2_20 as a wakeup source:
	 * Pin:  101	SC_P_SPI3_CS0 (MXM3_37/WAKE1_MICO)
	 * Type: 5 	SC_PAD_WAKEUP_FALL_EDGE
	 * Line: 20
	 */
	 pad-wakeup = <IMX8QM_SPI3_CS0 5 20>;
	 pad-wakeup-num = <1>;
};

&lsio_gpio3 {
	gpio-line-names = "MXM3_191",
			  "",
			  "MXM3_221",
			  "MXM3_225",
			  "MXM3_223",
			  "MXM3_227",
			  "MXM3_200",
			  "MXM3_235",
			  "MXM3_231",
			  "MXM3_229",
			  "MXM3_233",
			  "MXM3_204",
			  "MXM3_196",
			  "",
			  "MXM3_202",
			  "",
			  "",
			  "",
			  "MXM3_305",
			  "MXM3_307",
			  "MXM3_309",
			  "MXM3_311",
			  "MXM3_315",
			  "MXM3_317",
			  "MXM3_319",
			  "MXM3_321",
			  "MXM3_15/GPIO7",
			  "MXM3_63",
			  "MXM3_17/GPIO8",
			  "MXM3_12",
			  "MXM3_14",
			  "MXM3_16";
};

&lsio_gpio4 {
	gpio-line-names = "MXM3_18",
			  "MXM3_11/GPIO5",
			  "MXM3_13/GPIO6",
			  "MXM3_274",
			  "MXM3_84",
			  "MXM3_262",
			  "MXM3_96",
			  "",
			  "",
			  "",
			  "",
			  "",
			  "MXM3_190",
			  "",
			  "",
			  "",
			  "MXM3_269",
			  "MXM3_251",
			  "MXM3_253",
			  "MXM3_295",
			  "MXM3_299",
			  "MXM3_301",
			  "MXM3_297",
			  "MXM3_293",
			  "MXM3_291",
			  "MXM3_289",
			  "MXM3_287";
};

&lsio_gpio5 {
	gpio-line-names = "",
			  "",
			  "",
			  "",
			  "",
			  "",
			  "",
			  "",
			  "",
			  "",
			  "",
			  "",
			  "",
			  "",
			  "MXM3_150",
			  "MXM3_160",
			  "MXM3_162",
			  "MXM3_144",
			  "MXM3_146",
			  "MXM3_148",
			  "MXM3_152",
			  "MXM3_156",
			  "MXM3_158",
			  "MXM3_159",
			  "MXM3_184",
			  "MXM3_180",
			  "MXM3_186",
			  "MXM3_188",
			  "MXM3_176",
			  "MXM3_178";
};

&lsio_gpio6 {
	gpio-line-names = "",
			  "",
			  "",
			  "",
			  "",
			  "",
			  "",
			  "",
			  "",
			  "",
			  "MXM3_261",
			  "MXM3_263",
			  "MXM3_259",
			  "MXM3_257",
			  "MXM3_255",
			  "MXM3_128",
			  "MXM3_130",
			  "MXM3_265",
			  "MXM3_249",
			  "MXM3_247",
			  "MXM3_245",
			  "MXM3_243";
};

&mu_m0{
	interrupts = <GIC_SPI 472 IRQ_TYPE_LEVEL_HIGH>;
};

&mu1_m0{
	interrupts = <GIC_SPI 473 IRQ_TYPE_LEVEL_HIGH>;
};

&mu2_m0{
	interrupts = <GIC_SPI 474 IRQ_TYPE_LEVEL_HIGH>;
	status = "okay";
};

&mu3_m0{
	interrupts = <GIC_SPI 475 IRQ_TYPE_LEVEL_HIGH>;
	status = "okay";
};

/* Apalis PCIE1 */
&pciea {
	pinctrl-names = "default";
	pinctrl-0 = <&pinctrl_reset_moci>;
	clocks = <&pciea_lpcg 0>,
		 <&pciea_lpcg 1>,
		 <&pciea_lpcg 2>,
		 <&phyx2_lpcg 0>,
		 <&phyx2_crr0_lpcg 0>,
		 <&pciea_crr2_lpcg 0>,
		 <&misc_crr5_lpcg 0>,
		 <&pcie_sata_refclk_gate>;
	clock-names = "pcie", "pcie_bus", "pcie_inbound_axi",
		      "pcie_phy", "phy_per", "pcie_per", "misc_per",
		      "pcie_ext";

	ext_osc = <1>;
	fsl,max-link-speed = <1>;
	reset-gpio = <&lsio_gpio0 30 GPIO_ACTIVE_LOW>;
	vpcie-supply = <&reg_pcie_switch>;
};

/* On-module Wi-Fi */
&pcieb {
	pinctrl-names = "default";
	pinctrl-0 = <&pinctrl_pcieb &pinctrl_wifi>;
	clocks = <&pcieb_lpcg 0>,
		 <&pcieb_lpcg 1>,
		 <&pcieb_lpcg 2>,
		 <&phyx2_lpcg 1>,
		 <&phyx2_lpcg 0>,
		 <&phyx2_crr0_lpcg 0>,
		 <&pcieb_crr3_lpcg 0>,
		 <&pciea_crr2_lpcg 0>,
		 <&misc_crr5_lpcg 0>,
		 <&pcie_wifi_refclk_gate>;
	clock-names = "pcie", "pcie_bus", "pcie_inbound_axi",
		      "pcie_phy", "pcie_phy_pclk", "phy_per",
		      "pcie_per", "pciex2_per", "misc_per",
		      "pcie_ext";
	epdev_on-supply = <&reg_module_wifi>;
	ext_osc = <1>;
	fsl,max-link-speed = <1>;
	reset-gpio = <&lsio_gpio5 0 GPIO_ACTIVE_LOW>;
	status = "okay";
};

&pwm_lvds1 {
	#pwm-cells = <3>;
	pinctrl-names = "default";
	pinctrl-0 = <&pinctrl_pwm_bkl>;
};

/* Apalis PWM3, MXM3 pin 6 */
&pwm0 {
	pinctrl-names = "default";
	pinctrl-0 = <&pinctrl_pwm0>;
	#pwm-cells = <3>;
};

/* Apalis PWM4, MXM3 pin 8 */
&pwm1 {
	pinctrl-names = "default";
	pinctrl-0 = <&pinctrl_pwm1>;
	#pwm-cells = <3>;
};

/* Apalis PWM1, MXM3 pin 2 */
&pwm2 {
	pinctrl-names = "default";
	pinctrl-0 = <&pinctrl_pwm2>;
	#pwm-cells = <3>;
};

/* Apalis PWM2, MXM3 pin 4 */
&pwm3 {
	pinctrl-names = "default";
	pinctrl-0 = <&pinctrl_pwm3>;
	#pwm-cells = <3>;
};

&rpmsg0{
	/*
	 * 64K for one rpmsg instance:
	 */
	vdev-nums = <2>;
	reg = <0x0 0x90000000 0x0 0x20000>;
	memory-region = <&vdevbuffer>;
};

&rpmsg1{
	/*
	 * 64K for one rpmsg instance:
	 */
	vdev-nums = <2>;
	reg = <0x0 0x90100000 0x0 0x20000>;
	memory-region = <&vdevbuffer>;
};

&sai1 {
	#sound-dai-cells = <0>;
	assigned-clocks = <&clk IMX_SC_R_AUDIO_PLL_0 IMX_SC_PM_CLK_PLL>,
			<&clk IMX_SC_R_AUDIO_PLL_0 IMX_SC_PM_CLK_SLV_BUS>,
			<&clk IMX_SC_R_AUDIO_PLL_0 IMX_SC_PM_CLK_MST_BUS>,
			<&sai1_lpcg 0>; /* FIXME: should be sai1, original code is 0 */
	assigned-clock-rates = <786432000>, <49152000>, <12288000>, <49152000>;
	pinctrl-names = "default";
	pinctrl-0 = <&pinctrl_sai1>;
};

/* Apalis SATA1 */
&sata {
	clocks = <&sata_lpcg 0>,
		 <&phyx1_lpcg 0>,
		 <&phyx1_lpcg 1>,
		 <&phyx1_lpcg 2>,
		 <&phyx2_crr0_lpcg 0>,
		 <&phyx1_crr1_lpcg 0>,
		 <&pciea_crr2_lpcg 0>,
		 <&pcieb_crr3_lpcg 0>,
		 <&sata_crr4_lpcg 0>,
		 <&misc_crr5_lpcg 0>,
		 <&phyx2_lpcg 0>,
		 <&phyx2_lpcg 1>,
		 <&phyx1_lpcg 3>,
		 <&pcie_sata_refclk_gate>;
	clock-names = "sata", "sata_ref", "epcs_tx", "epcs_rx",
		      "per_clk0", "per_clk1", "per_clk2",
		      "per_clk3", "per_clk4", "per_clk5",
		      "phy_pclk0", "phy_pclk1", "phy_apbclk",
		      "sata_ext";
	ext_osc = <1>;
};

/* Apalis SPDIF1 */
&spdif0 {
	pinctrl-names = "default";
	pinctrl-0 = <&pinctrl_spdif0>;
	assigned-clocks = <&clk IMX_SC_R_AUDIO_PLL_0 IMX_SC_PM_CLK_PLL>,
			<&clk IMX_SC_R_AUDIO_PLL_0 IMX_SC_PM_CLK_SLV_BUS>,
			<&clk IMX_SC_R_AUDIO_PLL_0 IMX_SC_PM_CLK_MST_BUS>;
	assigned-clock-rates = <786432000>, <49152000>, <24576000>;
	status = "okay";
};

&thermal_zones {
	pmic-thermal0 {
		polling-delay-passive = <250>;
		polling-delay = <2000>;
		thermal-sensors = <&tsens IMX_SC_R_PMIC_0>;
		trips {
			pmic_alert0: trip0 {
				temperature = <110000>;
				hysteresis = <2000>;
				type = "passive";
			};
			pmic_crit0: trip1 {
				temperature = <125000>;
				hysteresis = <2000>;
				type = "critical";
			};
		};
		cooling-maps {
			cooling_maps_map0: map0 {
				trip = <&pmic_alert0>;
			};
		};
	};
};

&usb3phynop1 {
	status = "okay";
};

/* Apalis USBH2, Apalis USBH3 and on-module Wi-Fi via on-module HSIC Hub */
&usbh1 {
	pinctrl-names = "idle", "active";
	pinctrl-0 = <&pinctrl_usb_hsic_idle>;
	pinctrl-1 = <&pinctrl_usb_hsic_active>;
	adp-disable;
	disable-over-current;
	hnp-disable;
	srp-disable;
};

&usbphynop2 {
	status = "okay";
};

&usbphy1 {
	status = "okay";
};

/* Apalis USBO1 */
&usbotg1 {
	pinctrl-names = "default";
	pinctrl-0 = <&pinctrl_usbotg1>;
	adp-disable;
	ci-disable-lpm;
	hnp-disable;
	over-current-active-low;
	power-active-high;
	srp-disable;
};

/* On-module eMMC */
&usdhc1 {
	pinctrl-names = "default", "state_100mhz", "state_200mhz";
	pinctrl-0 = <&pinctrl_usdhc1>;
	pinctrl-1 = <&pinctrl_usdhc1_100mhz>;
	pinctrl-2 = <&pinctrl_usdhc1_200mhz>;
	bus-width = <8>;
	non-removable;
	status = "okay";
};

/* Apalis MMC1 */
&usdhc2 {
	pinctrl-names = "default", "state_100mhz", "state_200mhz";
	pinctrl-0 = <&pinctrl_usdhc2>, <&pinctrl_mmc1_cd>;
	pinctrl-1 = <&pinctrl_usdhc2_100mhz>, <&pinctrl_mmc1_cd>;
	pinctrl-2 = <&pinctrl_usdhc2_200mhz>, <&pinctrl_mmc1_cd>;
	bus-width = <8>;
	cd-gpios = <&lsio_gpio2 9 GPIO_ACTIVE_LOW>; /* Apalis MMC1_CD# */
	no-1-8-v;
};

/* Apalis SD1 */
&usdhc3 {
	pinctrl-names = "default", "state_100mhz", "state_200mhz";
	pinctrl-0 = <&pinctrl_usdhc3>, <&pinctrl_sd1_cd>;
	pinctrl-1 = <&pinctrl_usdhc3_100mhz>, <&pinctrl_sd1_cd>;
	pinctrl-2 = <&pinctrl_usdhc3_200mhz>, <&pinctrl_sd1_cd>;
	bus-width = <4>;
	cd-gpios = <&lsio_gpio4 12 GPIO_ACTIVE_LOW>; /* Apalis SD1_CD# */
	no-1-8-v;
};

&vpu_decoder {
	compatible = "nxp,imx8qm-b0-vpudec";
	boot-region = <&decoder_boot>;
	rpc-region = <&decoder_rpc>;
	reg-csr = <0x2d080000>;
	core_type = <2>;
	status = "okay";
};

&vpu_ts {
	compatible = "nxp,imx8qm-b0-vpu-ts";
	boot-region = <&ts_boot>;
	reg-csr = <0x2d0b0000>;
	status = "okay";
};

&vpu_encoder {
	compatible = "nxp,imx8qm-b0-vpuenc";
	boot-region = <&encoder_boot>;
	rpc-region = <&encoder_rpc>;
	reserved-region = <&encoder_reserved>;
	reg-rpc-system = <0x40000000>;
	resolution-max = <1920 1920>;
	power-domains = <&pd IMX_SC_R_VPU_ENC_0>, <&pd IMX_SC_R_VPU_ENC_1>,
			<&pd IMX_SC_R_VPU>;
	power-domain-names = "vpuenc1", "vpuenc2", "vpu";
	mbox-names = "enc1_tx0", "enc1_tx1", "enc1_rx",
		     "enc2_tx0", "enc2_tx1", "enc2_rx";
	mboxes = <&mu1_m0 0 0
		  &mu1_m0 0 1
		  &mu1_m0 1 0
		  &mu2_m0 0 0
		  &mu2_m0 0 1
		  &mu2_m0 1 0>;
	status = "okay";

	vpu_enc_core0: core0@1020000 {
		compatible = "fsl,imx8-mu1-vpu-m0";
		reg = <0x1020000 0x20000>;
		reg-csr = <0x1090000 0x10000>;
		interrupts = <GIC_SPI 473 IRQ_TYPE_LEVEL_HIGH>;
		fsl,vpu_ap_mu_id = <17>;
		fw-buf-size = <0x200000>;
		rpc-buf-size = <0x80000>;
		print-buf-size = <0x80000>;
	};

	vpu_enc_core1: core1@1040000 {
		compatible = "fsl,imx8-mu2-vpu-m0";
		reg = <0x1040000 0x20000>;
		reg-csr = <0x10A0000 0x10000>;
		interrupts = <GIC_SPI 474 IRQ_TYPE_LEVEL_HIGH>;
		fsl,vpu_ap_mu_id = <18>;
		fw-buf-size = <0x200000>;
		rpc-buf-size = <0x80000>;
		print-buf-size = <0x80000>;
	};
};
